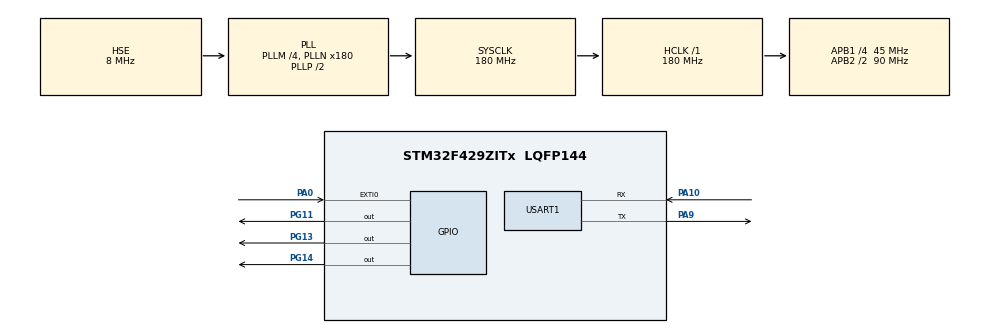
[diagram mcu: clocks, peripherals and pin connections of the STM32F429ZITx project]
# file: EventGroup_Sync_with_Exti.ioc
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FREERTOS.INCLUDE_xEventGroupSetBitFromISR=1
FREERTOS.INCLUDE_xTimerPendFunctionCall=1
FREERTOS.Tasks01=defaultTask,0,128,StartDefaultTask,Default,NULL,Dynamic,NULL,NULL
FREERTOS.configUSE_TIMERS=1
Mcu.Family=STM32F4
Mcu.Name=STM32F429ZITx
Mcu.Package=LQFP144
NVIC.EXTI0_IRQn=true\:7\:0\:true\:false\:true\:false\:true\:true\:true
NVIC.PriorityGroup=NVIC_PRIORITYGROUP_4
NVIC.TIM6_DAC_IRQn=true\:15\:0\:false\:false\:true\:false\:false\:true\:true
NVIC.TimeBase=TIM6_DAC_IRQn
NVIC.TimeBaseIP=TIM6
PA0/WKUP.Signal=GPXTI0
PA10.Mode=Asynchronous
PA10.Signal=USART1_RX
PA9.Mode=Asynchronous
PA9.Signal=USART1_TX
PG11.Signal=GPIO_Output
PG13.Signal=GPIO_Output
PG14.Signal=GPIO_Output
PH0/OSC_IN.Mode=HSE-External-Oscillator
PH0/OSC_IN.Signal=RCC_OSC_IN
PH1/OSC_OUT.Mode=HSE-External-Oscillator
PH1/OSC_OUT.Signal=RCC_OSC_OUT
ProjectManager.HeapSize=0x200
ProjectManager.StackSize=0x400
ProjectManager.TargetToolchain=STM32CubeIDE
RCC.48MHZClocksFreq_Value=51428571.428571425
RCC.AHBFreq_Value=180000000
RCC.APB1CLKDivider=RCC_HCLK_DIV4
RCC.APB1Freq_Value=45000000
RCC.APB1TimFreq_Value=90000000
RCC.APB2CLKDivider=RCC_HCLK_DIV2
RCC.APB2Freq_Value=90000000
RCC.APB2TimFreq_Value=180000000
RCC.CortexFreq_Value=180000000
RCC.HCLKFreq_Value=180000000
RCC.HSE_VALUE=8000000
RCC.HSI_VALUE=16000000
RCC.LSE_VALUE=32768
RCC.PLLM=4
RCC.PLLN=180
RCC.PLLQ=7
RCC.PLLSourceVirtual=RCC_PLLSOURCE_HSE
RCC.SYSCLKFreq_VALUE=180000000
RCC.SYSCLKSource=RCC_SYSCLKSOURCE_PLLCLK
RCC.VCOOutputFreq_Value=360000000
USART1.VirtualMode=VM_ASYNC
VP_FREERTOS_VS_CMSIS_V1.Mode=CMSIS_V1
VP_SYS_VS_tim6.Mode=TIM6
board=STM32F429I-DISC1

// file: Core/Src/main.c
/* USER CODE BEGIN Header */
/**
  ******************************************************************************
  * @file           : main.c
  * @brief          : Main program body
  ******************************************************************************
  * @attention
  *
  * Copyright (c) 2025 STMicroelectronics.
  * All rights reserved.
  *
  * This software is licensed under terms that can be found in the LICENSE file
  * in the root directory of this software component.
  * If no LICENSE file comes with this software, it is provided AS-IS.
  *
  ******************************************************************************
  */
/* USER CODE END Header */
#include "main.h"

#include "FreeRTOS.h"
#include "task.h"
#include "timers.h"
#include "queue.h"
#include "semphr.h"
#include "event_groups.h"

UART_HandleTypeDef huart1;

void SystemClock_Config(void);
static void MX_GPIO_Init(void);
static void MX_USART1_UART_Init(void);

/* USER CODE BEGIN 0 */

/* ***************************** Group Event Handle ************************** */
EventGroupHandle_t GroupEventHandle;

/* ***************************** Event Bits ********************************** */
const EventBits_t Task01_Bit = (1 << 0);
const EventBits_t Task02_Bit = (1 << 1);

const EventBits_t all_sync_bits = (Task01_Bit | Task02_Bit);

/* ***************************** Task Handle ********************************* */
TaskHandle_t Task01_Handle;
TaskHandle_t Task02_Handle;

/* ***************************** Task Functions ****************************** */
void Task01(void* pvParameters){

	for(;;)
	{
		HAL_GPIO_TogglePin(GPIOG, GPIO_PIN_13);

		EventBits_t uxBits = xEventGroupWaitBits(
				GroupEventHandle,         // Event group handle
				all_sync_bits,            // Bits to wait for
				pdTRUE,	                  // Clear bits on exit
				pdTRUE,                   // Wait for all bits
				pdMS_TO_TICKS(2000)       // Wait time
		);

		if ((uxBits & all_sync_bits) == all_sync_bits) {
			HAL_UART_Transmit(&huart1, (uint8_t*) "All tasks are running\n", 23, HAL_MAX_DELAY);
		}else{
			if ((uxBits & Task01_Bit) != Task01_Bit) {
				HAL_UART_Transmit(&huart1, (uint8_t*) "Task01 is not running. Task01 failure. \n", 40, HAL_MAX_DELAY);
			}
			if ((uxBits & Task02_Bit) != Task02_Bit) {
				HAL_UART_Transmit(&huart1, (uint8_t*) "Task02 is not running. Task02 failure. \n", 40, HAL_MAX_DELAY);
			}
		}

		vTaskDelay(pdMS_TO_TICKS(1000));
	}

}

void Task02(void *pvParameters)
{
	for(;;)
	{
		HAL_GPIO_TogglePin(GPIOG, GPIO_PIN_14);

		xEventGroupSetBits(GroupEventHandle, Task02_Bit);

		vTaskDelay(pdMS_TO_TICKS(1000));
	}

}

void HAL_GPIO_EXTI_Callback(uint16_t GPIO_Pin)
{
  if(GPIO_Pin == GPIO_PIN_0)
  {
	  HAL_GPIO_TogglePin(GPIOG, GPIO_PIN_11);

	  BaseType_t xHigherPriorityTaskWoken = pdFALSE;

	  xEventGroupSetBitsFromISR(GroupEventHandle, Task01_Bit, &xHigherPriorityTaskWoken);

	  portEND_SWITCHING_ISR(xHigherPriorityTaskWoken);
  }
}

/* USER CODE END 0 */

int main(void)
{

  /* MCU Configuration--------------------------------------------------------*/

  /* Reset of all peripherals, Initializes the Flash interface and the Systick. */
  HAL_Init();

  /* Configure the system clock */
  SystemClock_Config();

  /* Initialize all configured peripherals */
  MX_GPIO_Init();
  MX_USART1_UART_Init();
  /* USER CODE BEGIN 2 */

  /* ***************************** Create Event Group ************************** */
  GroupEventHandle = xEventGroupCreate();
  if(GroupEventHandle == NULL)
  {
	  HAL_UART_Transmit(&huart1, (uint8_t *)"Failed to create Event Group\n", 30, HAL_MAX_DELAY);
  }
  else
  {
	  HAL_UART_Transmit(&huart1, (uint8_t *)"Event Group Created Successfully\n", 36, HAL_MAX_DELAY);
  }

  /* **************************** Create Tasks ******************************* */
  xTaskCreate(Task01, "T1", 128, NULL, 1, &Task01_Handle);
  xTaskCreate(Task02, "T2", 128, NULL, 1, &Task02_Handle);

  /* **************************** Start Scheduler ***************************** */
  vTaskStartScheduler();

  /* USER CODE END 2 */

  /* We should never get here as control is now taken by the scheduler */

  /* Infinite loop */
  while (1)
  {

  }
}

void SystemClock_Config(void)
{
  RCC_OscInitTypeDef RCC_OscInitStruct = {0};
  RCC_ClkInitTypeDef RCC_ClkInitStruct = {0};

  /** Configure the main internal regulator output voltage
  */
  __HAL_RCC_PWR_CLK_ENABLE();
  __HAL_PWR_VOLTAGESCALING_CONFIG(PWR_REGULATOR_VOLTAGE_SCALE1);

  /** Initializes the RCC Oscillators according to the specified parameters
  * in the RCC_OscInitTypeDef structure.
  */
  RCC_OscInitStruct.OscillatorType = RCC_OSCILLATORTYPE_HSE;
  RCC_OscInitStruct.HSEState = RCC_HSE_ON;
  RCC_OscInitStruct.PLL.PLLState = RCC_PLL_ON;
  RCC_OscInitStruct.PLL.PLLSource = RCC_PLLSOURCE_HSE;
  RCC_OscInitStruct.PLL.PLLM = 4;
  RCC_OscInitStruct.PLL.PLLN = 180;
  RCC_OscInitStruct.PLL.PLLP = RCC_PLLP_DIV2;
  RCC_OscInitStruct.PLL.PLLQ = 7;
  if (HAL_RCC_OscConfig(&RCC_OscInitStruct) != HAL_OK)
  {
    Error_Handler();
  }

  /** Activate the Over-Drive mode
  */
  if (HAL_PWREx_EnableOverDrive() != HAL_OK)
  {
    Error_Handler();
  }

  /** Initializes the CPU, AHB and APB buses clocks
  */
  RCC_ClkInitStruct.ClockType = RCC_CLOCKTYPE_HCLK|RCC_CLOCKTYPE_SYSCLK
                              |RCC_CLOCKTYPE_PCLK1|RCC_CLOCKTYPE_PCLK2;
  RCC_ClkInitStruct.SYSCLKSource = RCC_SYSCLKSOURCE_PLLCLK;
  RCC_ClkInitStruct.AHBCLKDivider = RCC_SYSCLK_DIV1;
  RCC_ClkInitStruct.APB1CLKDivider = RCC_HCLK_DIV4;
  RCC_ClkInitStruct.APB2CLKDivider = RCC_HCLK_DIV2;

  if (HAL_RCC_ClockConfig(&RCC_ClkInitStruct, FLASH_LATENCY_5) != HAL_OK)
  {
    Error_Handler();
  }
}

static void MX_USART1_UART_Init(void)
{

  huart1.Instance = USART1;
  huart1.Init.BaudRate = 115200;
  huart1.Init.WordLength = UART_WORDLENGTH_8B;
  huart1.Init.StopBits = UART_STOPBITS_1;
  huart1.Init.Parity = UART_PARITY_NONE;
  huart1.Init.Mode = UART_MODE_TX_RX;
  huart1.Init.HwFlowCtl = UART_HWCONTROL_NONE;
  huart1.Init.OverSampling = UART_OVERSAMPLING_16;
  if (HAL_UART_Init(&huart1) != HAL_OK)
  {
    Error_Handler();
  }

}

static void MX_GPIO_Init(void)
{
  GPIO_InitTypeDef GPIO_InitStruct = {0};

  /* GPIO Ports Clock Enable */
  __HAL_RCC_GPIOH_CLK_ENABLE();
  __HAL_RCC_GPIOA_CLK_ENABLE();
  __HAL_RCC_GPIOG_CLK_ENABLE();

  /*Configure GPIO pin Output Level */
  HAL_GPIO_WritePin(GPIOG, GPIO_PIN_11|GPIO_PIN_13|GPIO_PIN_14, GPIO_PIN_RESET);

  /*Configure GPIO pin : PA0 */
  GPIO_InitStruct.Pin = GPIO_PIN_0;
  GPIO_InitStruct.Mode = GPIO_MODE_IT_RISING;
  GPIO_InitStruct.Pull = GPIO_NOPULL;
  HAL_GPIO_Init(GPIOA, &GPIO_InitStruct);

  /*Configure GPIO pins : PG11 PG13 PG14 */
  GPIO_InitStruct.Pin = GPIO_PIN_11|GPIO_PIN_13|GPIO_PIN_14;
  GPIO_InitStruct.Mode = GPIO_MODE_OUTPUT_PP;
  GPIO_InitStruct.Pull = GPIO_NOPULL;
  GPIO_InitStruct.Speed = GPIO_SPEED_FREQ_LOW;
  HAL_GPIO_Init(GPIOG, &GPIO_InitStruct);

  /* EXTI interrupt init*/
  HAL_NVIC_SetPriority(EXTI0_IRQn, 7, 0);
  HAL_NVIC_EnableIRQ(EXTI0_IRQn);

}

void HAL_TIM_PeriodElapsedCallback(TIM_HandleTypeDef *htim)
{
  if (htim->Instance == TIM6)
  {
    HAL_IncTick();
  }
}

void Error_Handler(void)
{
  __disable_irq();
  while (1)
  {
  }
}
